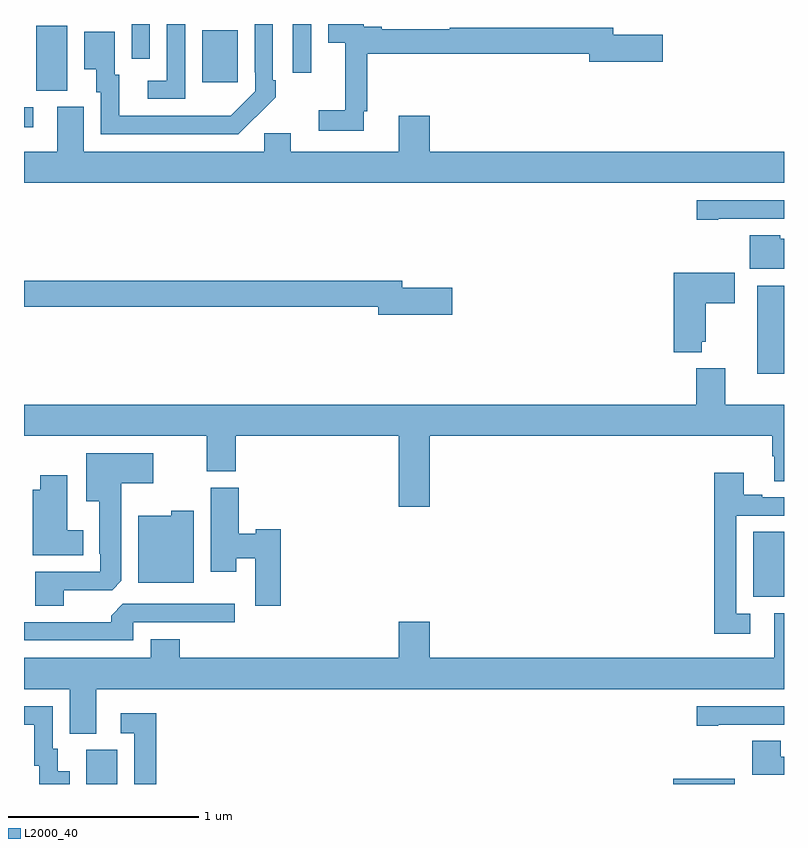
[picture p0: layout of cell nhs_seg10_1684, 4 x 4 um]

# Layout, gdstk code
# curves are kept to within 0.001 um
import gdstk
lib = gdstk.Library(unit=1e-6, precision=1e-09)
def R(c, l, rs):  # rectangles x0, y0, x1, y1
    for r in rs: c.add(gdstk.rectangle(r[:2], r[2:], *l))
def P(c, l, *ps):  # polygons
    for p in ps: c.add(gdstk.Polygon(p, *l))
L2000_40 = (2000, 40)

nhs_seg10_1684 = lib.new_cell('nhs_seg10_1684')
R(nhs_seg10_1684, L2000_40, [(199.328,1282.5,199.492,1282.68), (202.418,1282.5,202.741,1282.528), (202.838,1283.485,203,1283.828), (202.859,1284.66,203,1285.123), (199,1285.956,199.048,1286.061), (199.064,1286.149,199.228,1286.492), (199.937,1286.193,200.125,1286.467), (200.415,1286.244,200.511,1286.5), (199.566,1286.316,199.662,1286.5)])
P(nhs_seg10_1684, L2000_40, [(199.848,1286.5),(199.752,1286.5),(199.752,1286.202),(199.65,1286.202),(199.65,1286.106),(199.848,1286.106)],
  [(200.789,1286.041),(200.807,1286.041),(200.807,1286.344),(201.974,1286.344),(201.974,1286.302),(202.363,1286.302),(202.363,1286.444),(202.102,1286.444),(202.102,1286.48),(201.24,1286.48),(201.24,1286.473),(200.884,1286.473),(200.884,1286.486),(200.788,1286.486),(200.788,1286.5),(200.6,1286.5),(200.6,1286.402),(200.69,1286.402),(200.69,1286.047),(200.55,1286.047),(200.55,1285.938),(200.789,1285.938)],
  [(200.219,1286.011),(200.22,1286.01),(200.325,1286.115),(200.325,1286.203),(200.31,1286.203),(200.31,1286.5),(200.214,1286.5),(200.214,1286.245),(200.217,1286.245),(200.217,1286.145),(200.089,1286.017),(199.501,1286.016),(199.501,1286.232),(199.477,1286.232),(199.477,1286.458),(199.316,1286.458),(199.316,1286.261),(199.379,1286.261),(199.379,1286.142),(199.404,1286.142),(199.404,1285.92),(200.128,1285.92)],
  [(203,1285.828),(201.136,1285.828),(201.136,1286.017),(200.972,1286.017),(200.972,1285.828),(200.404,1285.828),(200.404,1285.926),(200.265,1285.926),(200.265,1285.828),(199.315,1285.828),(199.315,1286.064),(199.175,1286.064),(199.175,1285.828),(199,1285.828),(199,1285.664),(203,1285.664)],
  [(202.654,1285.476),(203,1285.476),(203,1285.572),(202.542,1285.572),(202.542,1285.471),(202.654,1285.471)],
  [(203,1285.369),(202.98,1285.369),(202.98,1285.387),(202.82,1285.387),(202.82,1285.211),(203,1285.211)],
  [(202.566,1284.827),(202.588,1284.827),(202.588,1285.03),(202.741,1285.03),(202.741,1285.192),(202.421,1285.192),(202.421,1284.773),(202.566,1284.773)],
  [(201.253,1285.112),(200.992,1285.112),(200.992,1285.148),(199,1285.148),(199,1285.012),(200.864,1285.012),(200.864,1284.97),(201.253,1284.97)],
  [(201.136,1284.332),(202.937,1284.332),(202.937,1284.226),(202.949,1284.226),(202.949,1284.094),(203,1284.094),(203,1284.496),(202.69,1284.496),(202.69,1284.688),(202.538,1284.688),(202.538,1284.496),(199,1284.496),(199,1284.332),(199.961,1284.332),(199.961,1284.145),(200.114,1284.145),(200.114,1284.332),(200.972,1284.332),(200.972,1283.958),(201.136,1283.958)],
  [(199.21,1283.52),(199.464,1283.52),(199.513,1283.569),(199.513,1284.083),(199.681,1284.083),(199.681,1284.241),(199.328,1284.241),(199.328,1283.987),(199.397,1283.987),(199.397,1283.713),(199.401,1283.713),(199.401,1283.616),(199.058,1283.616),(199.058,1283.437),(199.21,1283.437)],
  [(202.822,1283.397),(202.749,1283.397),(202.749,1283.913),(203,1283.913),(203,1284.009),(202.885,1284.009),(202.885,1284.022),(202.789,1284.022),(202.789,1284.139),(202.633,1284.139),(202.633,1283.292),(202.822,1283.292)],
  [(199.312,1283.836),(199.228,1283.836),(199.228,1284.124),(199.085,1284.124),(199.085,1284.049),(199.046,1284.049),(199.046,1283.705),(199.312,1283.705)],
  [(200.351,1283.84),(200.22,1283.84),(200.22,1283.817),(200.129,1283.817),(200.129,1284.06),(199.982,1284.06),(199.982,1283.616),(200.116,1283.616),(200.116,1283.687),(200.216,1283.687),(200.216,1283.439),(200.351,1283.439)],
  [(199.894,1283.938),(199.776,1283.938),(199.776,1283.911),(199.601,1283.911),(199.601,1283.558),(199.894,1283.558)],
  [(199.575,1283.352),(200.11,1283.352),(200.11,1283.448),(199.521,1283.448),(199.46,1283.386),(199.46,1283.352),(199,1283.352),(199,1283.256),(199.575,1283.256)],
  [(199.381,1283),(203,1283),(203,1283.4),(202.949,1283.4),(202.949,1283.164),(201.136,1283.164),(201.136,1283.353),(200.972,1283.353),(200.972,1283.164),(199.82,1283.164),(199.82,1283.263),(199.667,1283.263),(199.667,1283.164),(199,1283.164),(199,1283),(199.241,1283),(199.241,1282.765),(199.381,1282.765)],
  [(202.654,1282.812),(203,1282.812),(203,1282.908),(202.542,1282.908),(202.542,1282.807),(202.654,1282.807)],
  [(199.24,1282.567),(199.177,1282.567),(199.177,1282.686),(199.152,1282.686),(199.152,1282.908),(199,1282.908),(199,1282.812),(199.055,1282.812),(199.055,1282.596),(199.079,1282.596),(199.079,1282.5),(199.24,1282.5)],
  [(199.697,1282.873),(199.509,1282.873),(199.509,1282.767),(199.581,1282.767),(199.581,1282.5),(199.697,1282.5)],
  [(203,1282.644),(202.984,1282.644),(202.984,1282.727),(202.832,1282.727),(202.832,1282.548),(203,1282.548)])

lib.write_gds('nhs_seg10_1684.gds')
